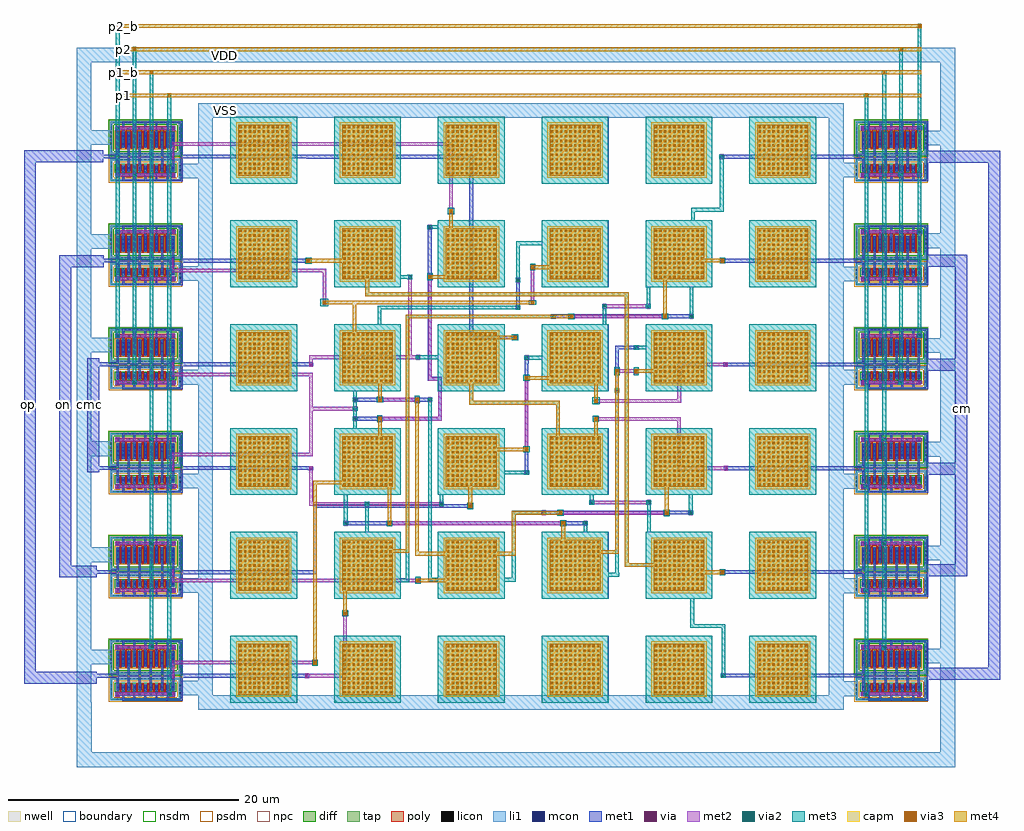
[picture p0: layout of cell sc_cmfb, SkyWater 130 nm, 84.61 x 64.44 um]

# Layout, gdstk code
from math import pi, radians
import gdstk
lib = gdstk.Library(unit=1e-6, precision=1e-09)
def R(c, l, rs):  # rectangles x0, y0, x1, y1
    for r in rs: c.add(gdstk.rectangle(r[:2], r[2:], *l))
def A(c, l, x, y, w, h, nx, ny, dx, dy):  # array of equal rectangles
    R(c, l, [(x+i*dx, y+j*dy, x+i*dx+w, y+j*dy+h) for i in range(nx) for j in range(ny)])
nwell = (64, 20)
diff = (65, 20)
tap = (65, 44)
poly = (66, 20)
licon = (66, 44)
li1 = (67, 20)
mcon = (67, 44)
met1 = (68, 20)
via = (68, 44)
met2 = (69, 20)
via2 = (69, 44)
met3 = (70, 20)
via3 = (70, 44)
met4 = (71, 20)
capm = (89, 44)
nsdm = (93, 44)
psdm = (94, 20)
npc = (95, 20)
boundary = (235, 4)

pmos_tgate = lib.new_cell('pmos_tgate')
R(pmos_tgate, nwell, [(-3.23,-1.78,3.24,1.47)])
R(pmos_tgate, diff, [(-2.54,-0.68,2.55,0.68)])
R(pmos_tgate, tap, [(-3.05,-1.6,3.06,-1.43), (-3.05,-1.43,-2.88,1.12), (2.89,-1.43,3.06,1.12), (-3.05,1.12,3.06,1.29)])
A(pmos_tgate, poly, -2.23, -0.84, 0.15, 1.65, 10, 1, 0.48, 0)
R(pmos_tgate, poly, [(-2.56,-1.17,2.57,-0.84)])
A(pmos_tgate, licon, -2.46, -1.6, 0.17, 0.17, 15, 2, 0.34, 2.72)
A(pmos_tgate, licon, -3.05, -1.09, 0.17, 0.17, 1, 6, 0, 0.34)
A(pmos_tgate, licon, -2.48, -1.09, 0.17, 0.17, 6, 1, 0.96, 0)
A(pmos_tgate, licon, 2.89, -1.09, 0.17, 0.17, 1, 6, 0, 0.34)
A(pmos_tgate, licon, -2.48, -0.595, 0.17, 0.17, 11, 4, 0.48, 0.34)
A(pmos_tgate, li1, -2.48, -0.7, 0.17, 1.4, 11, 1, 0.48, 0)
R(pmos_tgate, li1, [(-3.05,-1.6,3.06,-1.43), (-3.05,-1.43,-2.88,1.12), (2.89,-1.43,3.06,1.12), (-2.56,-1.13,2.57,-0.88), (-3.05,1.12,3.06,1.29)])
A(pmos_tgate, mcon, -2.48, -0.445, 0.17, 0.17, 11, 3, 0.48, 0.36)
A(pmos_tgate, met1, -2.51, -0.68, 0.23, 1.36, 11, 1, 0.48, 0)
R(pmos_tgate, nsdm, [(-3.175,-1.725,3.185,-1.305), (-3.175,-1.305,-2.755,0.995), (2.765,-1.305,3.185,0.995), (-3.175,0.995,3.185,1.415)])
R(pmos_tgate, psdm, [(-2.665,-0.805,2.675,0.805)])
A(pmos_tgate, npc, -2.58, -1.19, 0.37, 0.37, 6, 1, 0.96, 0)
R(pmos_tgate, boundary, [(-2.97,-1.51,2.97,1.51)])

nmos_tgate = lib.new_cell('nmos_tgate')
R(nmos_tgate, diff, [(-2.54,-0.26,2.55,0.26)])
R(nmos_tgate, tap, [(-3.05,-1.13,3.06,-0.96), (-3.05,-0.96,-2.88,0.65), (2.89,-0.96,3.06,0.65), (-3.05,0.65,3.06,0.82)])
A(nmos_tgate, poly, -2.23, -0.415, 0.15, 0.805, 10, 1, 0.48, 0)
R(nmos_tgate, poly, [(-2.56,-0.745,2.57,-0.415)])
A(nmos_tgate, licon, -2.46, -1.13, 0.17, 0.17, 15, 2, 0.34, 1.78)
A(nmos_tgate, licon, -2.48, -0.665, 0.17, 0.17, 6, 1, 0.96, 0)
A(nmos_tgate, licon, -3.05, -0.58, 0.17, 0.17, 1, 3, 0, 0.34)
A(nmos_tgate, licon, 2.89, -0.58, 0.17, 0.17, 1, 3, 0, 0.34)
A(nmos_tgate, licon, -2.48, -0.085, 0.17, 0.17, 11, 1, 0.48, 0)
A(nmos_tgate, li1, -2.48, -0.28, 0.17, 0.56, 11, 1, 0.48, 0)
R(nmos_tgate, li1, [(-3.05,-1.13,3.06,-0.96), (-3.05,-0.96,-2.88,0.65), (2.89,-0.96,3.06,0.65), (-2.56,-0.705,2.57,-0.455), (-3.05,0.65,3.06,0.82)])
A(nmos_tgate, mcon, -2.48, -0.085, 0.17, 0.17, 11, 1, 0.48, 0)
A(nmos_tgate, met1, -2.51, -0.26, 0.23, 0.52, 11, 1, 0.48, 0)
R(nmos_tgate, nsdm, [(-2.665,-0.385,2.675,0.385)])
R(nmos_tgate, psdm, [(-3.175,-1.255,3.185,-0.835), (-3.175,-0.835,-2.755,0.525), (2.765,-0.835,3.185,0.525), (-3.175,0.525,3.185,0.945)])
A(nmos_tgate, npc, -2.58, -0.765, 0.37, 0.37, 6, 1, 0.96, 0)
R(nmos_tgate, boundary, [(-2.97,-1.05,2.97,1.05)])

transmission_gate = lib.new_cell('transmission_gate')
R(transmission_gate, li1, [(5.855,-0.065,6.025,0.095), (0.405,0.36,0.485,0.61), (0.405,4.415,0.485,4.665), (5.855,4.965,6.025,5.135)])
A(transmission_gate, met1, 0.965, 0.095, 0.17, 0.805, 5, 2, 0.96, 4.065)
A(transmission_gate, met1, 0.485, 1.265, 0.17, 0.715, 6, 1, 0.96, 0)
A(transmission_gate, met1, 0.485, 2.15, 0.17, 0.89, 6, 1, 0.96, 0)
R(transmission_gate, met1, [(-0.265,-0.075,4.975,0.095), (-0.265,0.095,-0.095,4.965), (0.485,1.98,5.455,2.15), (-0.265,4.965,4.975,5.135)])
transmission_gate.add(gdstk.Reference(pmos_tgate, (2.975,3.535), rotation=pi))
transmission_gate.add(gdstk.Reference(nmos_tgate, (2.965,1.065)))
transmission_gate.add(gdstk.Label('in', (-0.17,2.05), layer=68, texttype=16))
transmission_gate.add(gdstk.Label('out', (5.37,2.06), layer=68, texttype=16))
transmission_gate.add(gdstk.Label('en', (0.44,0.49), layer=67, texttype=16))
transmission_gate.add(gdstk.Label('en_b', (0.44,4.55), layer=67, texttype=16))
transmission_gate.add(gdstk.Label('VDD', (5.94,5.05), layer=67, texttype=16))
transmission_gate.add(gdstk.Label('VSS', (5.94,0.01), layer=67, texttype=16))

unit_cap_mim_m3m4 = lib.new_cell('unit_cap_mim_m3m4')
R(unit_cap_mim_m3m4, met3, [(-3.15,-2.9,2.64,2.9)])
A(unit_cap_mim_m3m4, via3, -2.35, -2.1, 0.2, 0.2, 11, 11, 0.4, 0.4)
R(unit_cap_mim_m3m4, met4, [(-2.455,-2.205,1.955,2.205)])
R(unit_cap_mim_m3m4, capm, [(-2.65,-2.4,2.15,2.4)])
R(unit_cap_mim_m3m4, boundary, [(-3.15,-2.9,2.65,2.9)])

sc_cmfb = lib.new_cell('sc_cmfb')
R(sc_cmfb, li1, [(-22.295,-14.595,53.83,-13.315), (-22.295,-13.315,-21.015,-9.625), (52.55,-13.315,53.83,-5.6), (-22.31,-9.625,-21.015,-8.955), (-11.78,-9.625,44.175,-8.43), (-22.31,-8.955,-21.03,-5.68), (-11.78,-8.43,45.305,-8.38), (-13.37,-8.38,45.305,-8.345), (50.625,-8.36,50.795,-8.19), (45.83,-8.35,46,-8.18), (-13.37,-8.345,-10.5,-7.1), (42.895,-8.345,45.305,-7.15), (-18.84,-8.335,-18.67,-8.165), (-14.055,-8.335,-13.885,-8.165), (42.895,-7.15,44.175,0.495), (-11.78,-7.1,-10.5,0.52), (-22.31,-5.68,-19.28,-4.4), (51.31,-5.6,53.83,-4.32), (-22.31,-4.4,-21.03,3.185), (52.55,-4.32,53.83,3.325), (-18.845,-4.295,-18.675,-4.125), (45.81,-4.29,45.98,-4.12), (-14.045,-4.28,-13.875,-4.11), (50.615,-4.27,50.785,-4.1), (42.895,0.495,45.36,1.775), (-13.345,0.52,-10.5,1.8), (45.8,0.63,45.97,0.8), (-18.855,0.65,-18.685,0.82), (-14.045,0.65,-13.875,0.82), (50.595,0.655,50.765,0.825), (42.895,1.775,44.175,9.55), (-11.78,1.8,-10.5,9.565), (-22.31,3.185,-19.335,4.465), (51.295,3.325,53.83,4.605), (-22.31,4.465,-21.03,12.36), (52.55,4.605,53.83,12.32), (50.625,4.7,50.795,4.87), (-18.85,4.71,-18.68,4.88), (-14.045,4.715,-13.875,4.885), (45.8,4.73,45.97,4.9), (42.895,9.55,45.27,10.83), (-13.41,9.565,-10.5,10.845), (50.625,9.635,50.795,9.805), (-18.85,9.65,-18.68,9.82), (-14.035,9.65,-13.865,9.82), (45.79,9.655,45.96,9.825), (42.895,10.83,44.175,18.57), (-11.78,10.845,-10.5,18.57), (51.255,12.32,53.83,13.6), (-22.31,12.36,-19.295,13.64), (52.55,13.6,53.83,21.325), (-22.31,13.64,-21.03,21.365), (-18.835,13.715,-18.665,13.885), (-14.045,13.715,-13.875,13.885), (45.8,13.73,45.97,13.9), (50.605,13.73,50.775,13.9), (-13.41,18.57,-10.5,19.85), (42.895,18.57,45.335,19.85), (45.8,18.645,45.97,18.815), (-18.835,18.65,-18.665,18.82), (-14.04,18.655,-13.87,18.825), (50.645,18.665,50.815,18.835), (-11.78,19.85,-10.5,27.56), (42.895,19.85,44.175,27.51), (51.285,21.325,53.83,22.605), (-22.31,21.365,-19.335,22.645), (52.55,22.605,53.83,30.395), (-22.31,22.645,-21.03,30.34), (-18.85,22.71,-18.68,22.88), (-14.03,22.71,-13.86,22.88), (45.82,22.71,45.99,22.88), (50.625,22.71,50.795,22.88), (42.895,27.51,45.32,28.79), (-13.36,27.56,-10.5,28.84), (-18.835,27.65,-18.665,27.82), (-14.05,27.65,-13.88,27.82), (45.79,27.665,45.96,27.835), (50.615,27.675,50.785,27.845), (42.895,28.79,44.175,36.53), (-11.78,28.84,-10.5,36.45), (-22.31,30.34,-19.375,31.62), (51.255,30.395,53.83,31.675), (-22.31,31.62,-21.03,39.345), (52.55,31.675,53.83,39.31), (-14.04,31.71,-13.87,31.88), (50.615,31.71,50.785,31.88), (-18.84,31.715,-18.67,31.885), (45.79,31.73,45.96,31.9), (-13.395,36.45,-10.5,37.73), (42.895,36.53,45.335,37.81), (-18.84,36.65,-18.67,36.82), (-14.035,36.655,-13.865,36.825), (45.81,36.655,45.98,36.825), (50.625,36.665,50.795,36.835), (-11.78,37.73,-10.5,41.695), (42.895,37.81,44.175,41.695), (51.32,39.31,53.83,40.59), (-22.31,39.345,-19.32,40.625), (52.55,40.59,53.83,41.535), (-22.31,40.625,-21.03,46.505), (-18.84,40.71,-18.67,40.88), (-14.045,40.71,-13.875,40.88), (50.605,40.71,50.775,40.88), (45.765,40.72,45.935,40.89), (52.55,41.535,53.845,42.975), (-11.78,41.695,44.175,42.975), (52.565,42.975,53.845,46.505), (-22.31,46.505,53.845,47.785)])
R(sc_cmfb, mcon, [(50.625,-8.36,50.795,-8.19), (45.83,-8.35,46,-8.18), (-18.84,-8.335,-18.67,-8.165), (-14.055,-8.335,-13.885,-8.165), (-18.845,-4.295,-18.675,-4.125), (45.81,-4.29,45.98,-4.12), (-14.045,-4.28,-13.875,-4.11), (50.615,-4.27,50.785,-4.1), (45.8,0.63,45.97,0.8), (-18.855,0.65,-18.685,0.82), (-14.045,0.65,-13.875,0.82), (50.595,0.655,50.765,0.825), (50.625,4.7,50.795,4.87), (-18.85,4.71,-18.68,4.88), (-14.045,4.715,-13.875,4.885), (45.8,4.73,45.97,4.9), (50.625,9.635,50.795,9.805), (-18.85,9.65,-18.68,9.82), (-14.035,9.65,-13.865,9.82), (45.79,9.655,45.96,9.825), (-18.835,13.715,-18.665,13.885), (-14.045,13.715,-13.875,13.885), (45.8,13.73,45.97,13.9), (50.605,13.73,50.775,13.9), (45.8,18.645,45.97,18.815), (-18.835,18.65,-18.665,18.82), (-14.04,18.655,-13.87,18.825), (50.645,18.665,50.815,18.835), (-18.85,22.71,-18.68,22.88), (-14.03,22.71,-13.86,22.88), (45.82,22.71,45.99,22.88), (50.625,22.71,50.795,22.88), (-18.835,27.65,-18.665,27.82), (-14.05,27.65,-13.88,27.82), (45.79,27.665,45.96,27.835), (50.615,27.675,50.785,27.845), (-14.04,31.71,-13.87,31.88), (50.615,31.71,50.785,31.88), (-18.84,31.715,-18.67,31.885), (45.79,31.73,45.96,31.9), (-18.84,36.65,-18.67,36.82), (-14.035,36.655,-13.865,36.825), (45.81,36.655,45.98,36.825), (50.625,36.665,50.795,36.835), (-18.84,40.71,-18.67,40.88), (-14.045,40.71,-13.875,40.88), (50.605,40.71,50.775,40.88), (45.765,40.72,45.935,40.89)])
R(sc_cmfb, met1, [(-18.955,-8.43,-18.535,-8.11), (-14.17,-8.42,-13.75,-8.1), (50.5,-8.42,50.92,-8.1), (45.675,-8.415,46.095,-8.095), (-26.88,-7.37,-20.565,-6.825), (51.43,-7.02,57.73,-5.985), (-14.245,-6.84,-13.825,-6.52), (-13.19,-6.83,-2.2,-6.825), (-26.88,-6.825,-18.795,-6.505), (-13.19,-6.825,-2.14,-6.51), (33.835,-6.82,45.925,-6.815), (33.54,-6.815,45.925,-6.5), (-2.56,-6.51,-2.14,-6.505), (-26.88,-6.505,-20.565,-6.335), (33.54,-6.5,33.96,-6.495), (-26.88,-6.335,-25.845,37.83), (56.695,-5.985,57.73,37.805), (45.69,-4.365,46.11,-4.045), (50.49,-4.365,50.91,-4.045), (-18.97,-4.36,-18.55,-4.04), (-14.165,-4.355,-13.745,-4.035), (-18.97,0.57,-18.55,0.89), (45.68,0.575,46.1,0.895), (50.49,0.58,50.91,0.9), (-14.155,0.59,-13.735,0.91), (-23.82,1.85,-20.575,2.165), (51.415,1.975,54.9,3.01), (33.45,2.145,33.87,2.165), (-13.155,2.15,-1.495,2.47), (-23.82,2.165,-18.755,2.485), (-14.25,2.165,-13.83,2.485), (33.45,2.165,45.9,2.465), (33.61,2.465,45.9,2.485), (-1.82,2.47,-1.5,7.88), (-23.82,2.485,-20.575,2.885), (-23.82,2.885,-22.785,28.73), (53.865,3.01,54.9,10.74), (45.68,4.63,46.1,4.95), (50.505,4.635,50.925,4.955), (-18.97,4.64,-18.55,4.96), (-14.155,4.64,-13.735,4.96), (0.8,6.385,22,6.705), (17.96,7.31,31.13,7.63), (-1.82,7.88,12.02,8.2), (45.67,9.565,46.09,9.885), (50.495,9.575,50.915,9.895), (-18.97,9.585,-18.55,9.905), (-14.14,9.595,-13.72,9.915), (51.45,10.74,54.9,11.775), (16.49,10.795,16.91,11.115), (-21.395,10.965,-20.36,11.185), (16.54,11.115,16.855,20.425), (-2.22,11.135,-1.8,11.17), (-14.285,11.155,-13.865,11.475), (33.77,11.165,45.895,11.485), (-13.17,11.17,-1.8,11.455), (-21.395,11.185,-18.685,11.505), (-13.17,11.455,-1.935,11.49), (-21.395,11.505,-20.36,20.18), (53.865,11.775,54.9,19.76), (-18.98,13.625,-18.56,13.945), (-14.145,13.635,-13.725,13.955), (45.685,13.635,46.105,13.955), (50.485,13.635,50.905,13.955), (1.615,15.45,9.33,15.77), (9.01,15.77,9.33,18.91), (1.615,17.095,8.525,17.415), (24.32,17.89,24.74,18.21), (24.37,18.21,24.69,21.63), (-18.965,18.57,-18.545,18.89), (45.68,18.57,46.1,18.89), (-14.155,18.585,-13.735,18.905), (50.495,18.595,50.915,18.915), (8.14,18.91,9.33,19.23), (8.14,19.23,8.46,32.06), (51.435,19.76,54.9,20.795), (-2.22,20.15,-1.8,20.17), (-14.27,20.155,-13.85,20.475), (33.745,20.155,45.955,20.475), (-13.135,20.17,-1.8,20.47), (-21.395,20.18,-18.73,20.5), (16.54,20.425,16.86,20.74), (-13.135,20.47,-1.87,20.49), (-21.395,20.5,-20.36,20.84), (16.49,20.74,16.91,21.06), (53.865,20.795,54.9,28.79), (24.37,21.63,26.405,21.95), (11.735,22.495,15.9,22.815), (-18.975,22.635,-18.555,22.955), (-14.17,22.635,-13.75,22.955), (50.49,22.645,50.91,22.965), (45.685,22.65,46.105,22.97), (11.735,22.815,12.055,38.165), (18.79,24.32,19.21,24.34), (18.79,24.34,31.2,24.64), (19.155,24.64,31.2,24.66), (15.735,25.1,16.155,25.42), (15.785,25.42,16.105,27.47), (15.735,27.47,16.155,27.79), (50.48,27.575,50.9,27.895), (45.685,27.58,46.105,27.9), (-18.955,27.585,-18.535,27.905), (-14.165,27.585,-13.745,27.905), (-23.82,28.73,-19.98,29.175), (51.47,28.79,54.9,29.825), (-2.435,29.145,-2.015,29.15), (33.64,29.145,45.905,29.155), (-13.185,29.15,-2.015,29.465), (-14.29,29.155,-13.87,29.475), (33.47,29.155,45.905,29.465), (-23.82,29.175,-18.74,29.495), (-13.185,29.465,-2.155,29.47), (33.47,29.465,34.11,29.475), (33.64,29.475,34.11,29.48), (-23.82,29.495,-19.98,29.765), (-18.97,31.64,-18.55,31.96), (50.49,31.65,50.91,31.97), (-14.16,31.655,-13.74,31.975), (45.69,31.66,46.11,31.98), (8.09,32.06,8.51,32.38), (45.67,36.56,46.09,36.88), (-14.17,36.57,-13.75,36.89), (50.505,36.575,50.925,36.895), (-18.945,36.59,-18.525,36.91), (51.45,37.805,57.73,38.84), (-26.88,37.83,-20.02,38.185), (-14.26,38.155,-13.84,38.475), (-2.425,38.165,12.055,38.185), (33.405,38.165,45.85,38.485), (-26.88,38.185,-18.74,38.505), (-13.175,38.185,12.055,38.485), (-13.175,38.485,-1.675,38.505), (-26.88,38.505,-20.02,38.865), (-18.975,40.62,-18.555,40.94), (-14.175,40.62,-13.755,40.94), (45.675,40.64,46.095,40.96), (50.495,40.655,50.915,40.975)])
R(sc_cmfb, via, [(-18.82,-8.345,-18.67,-8.195), (-14.035,-8.335,-13.885,-8.185), (50.635,-8.335,50.785,-8.185), (45.81,-8.33,45.96,-8.18), (-14.11,-6.755,-13.96,-6.605), (-2.425,-6.74,-2.275,-6.59), (33.675,-6.73,33.825,-6.58), (45.825,-4.28,45.975,-4.13), (50.625,-4.28,50.775,-4.13), (-18.835,-4.275,-18.685,-4.125), (-14.03,-4.27,-13.88,-4.12), (-18.835,0.655,-18.685,0.805), (45.815,0.66,45.965,0.81), (50.625,0.665,50.775,0.815), (-14.02,0.675,-13.87,0.825), (33.585,2.23,33.735,2.38), (-14.115,2.25,-13.965,2.4), (45.815,4.715,45.965,4.865), (50.64,4.72,50.79,4.87), (-18.835,4.725,-18.685,4.875), (-14.02,4.725,-13.87,4.875), (0.935,6.47,1.085,6.62), (21.715,6.47,21.865,6.62), (18.095,7.395,18.245,7.545), (30.845,7.395,30.995,7.545), (11.735,7.965,11.885,8.115), (45.805,9.65,45.955,9.8), (50.63,9.66,50.78,9.81), (-18.835,9.67,-18.685,9.82), (-14.005,9.68,-13.855,9.83), (16.625,10.88,16.775,11.03), (-2.085,11.22,-1.935,11.37), (-14.15,11.24,-14,11.39), (33.905,11.25,34.055,11.4), (-18.845,13.71,-18.695,13.86), (-14.01,13.72,-13.86,13.87), (45.82,13.72,45.97,13.87), (50.62,13.72,50.77,13.87), (1.75,15.535,1.9,15.685), (1.75,17.18,1.9,17.33), (8.24,17.18,8.39,17.33), (24.455,17.975,24.605,18.125), (-18.83,18.655,-18.68,18.805), (45.815,18.655,45.965,18.805), (-14.02,18.67,-13.87,18.82), (50.63,18.68,50.78,18.83), (-2.085,20.235,-1.935,20.385), (-14.135,20.24,-13.985,20.39), (33.88,20.24,34.03,20.39), (16.625,20.825,16.775,20.975), (26.12,21.715,26.27,21.865), (15.615,22.58,15.765,22.73), (-18.84,22.72,-18.69,22.87), (-14.035,22.72,-13.885,22.87), (50.625,22.73,50.775,22.88), (45.82,22.735,45.97,22.885), (18.925,24.405,19.075,24.555), (30.915,24.425,31.065,24.575), (15.87,25.185,16.02,25.335), (15.87,27.555,16.02,27.705), (50.615,27.66,50.765,27.81), (45.82,27.665,45.97,27.815), (-18.82,27.67,-18.67,27.82), (-14.03,27.67,-13.88,27.82), (-2.3,29.23,-2.15,29.38), (-14.155,29.24,-14.005,29.39), (33.605,29.24,33.755,29.39), (-18.835,31.725,-18.685,31.875), (50.625,31.735,50.775,31.885), (-14.025,31.74,-13.875,31.89), (45.825,31.745,45.975,31.895), (8.225,32.145,8.375,32.295), (45.805,36.645,45.955,36.795), (-14.035,36.655,-13.885,36.805), (50.64,36.66,50.79,36.81), (-18.81,36.675,-18.66,36.825), (-14.125,38.24,-13.975,38.39), (33.54,38.25,33.69,38.4), (-18.84,40.705,-18.69,40.855), (-14.04,40.705,-13.89,40.855), (45.81,40.725,45.96,40.875), (50.63,40.74,50.78,40.89)])
A(sc_cmfb, met2, 45.72, 4.67, 5.285, 0.26, 1, 3, 0, 9)
R(sc_cmfb, met2, [(-18.905,-8.48,-18.585,-8.37), (45.985,-8.48,46.305,-8.465), (-14.425,-8.47,-13.8,-8.37), (50.55,-8.47,50.87,-8.365), (45.725,-8.465,46.305,-8.365), (-18.97,-8.37,-13.795,-8.11), (45.725,-8.365,51.005,-8.105), (-18.905,-8.11,-18.585,-8.06), (-14.425,-8.11,-13.8,-8.05), (45.725,-8.105,46.305,-8.06), (50.55,-8.105,50.87,-8.05), (45.725,-8.06,46.045,-8.045), (-14.195,-6.89,-13.875,-5.69), (-2.51,-6.875,-2.19,-6.825), (33.59,-6.865,33.91,-6.445), (-2.51,-6.825,1.12,-6.505), (-2.51,-6.505,-2.19,-6.455), (0.8,-6.505,1.12,-1.04), (-1.82,-5.74,-1.5,-5.69), (-14.195,-5.69,-1.5,-5.37), (-1.82,-5.37,-1.5,-5.32), (47.515,-4.425,47.835,-4.33), (45.74,-4.415,46.06,-4.33), (50.54,-4.415,50.86,-4.33), (-18.92,-4.41,-18.6,-4.33), (-14.115,-4.405,-13.795,-4.33), (-16,-4.375,-15.68,-4.33), (-18.97,-4.33,-13.765,-4.07), (45.725,-4.33,51.005,-4.07), (-18.92,-4.07,-18.6,-3.99), (-16,-4.07,-15.68,-3.955), (-14.115,-4.07,-13.795,-3.985), (45.74,-4.07,46.06,-3.995), (47.515,-4.07,47.835,-4.005), (50.54,-4.07,50.86,-3.995), (45.99,0.505,46.31,0.525), (-18.92,0.52,-18.6,0.63), (45.73,0.525,46.31,0.635), (-14.38,0.53,-13.755,0.57), (50.54,0.53,50.86,0.635), (-14.395,0.57,-13.755,0.63), (-18.97,0.63,-13.755,0.89), (45.73,0.635,51.005,0.895), (-18.92,0.89,-18.6,0.94), (-14.395,0.89,-13.755,0.95), (45.73,0.895,46.31,0.925), (50.54,0.895,50.86,0.95), (45.73,0.925,46.05,0.945), (-14.38,0.95,-13.755,0.965), (7.115,1.375,7.435,1.42), (-14.2,1.42,7.435,1.74), (-14.2,1.74,-13.88,2.535), (7.115,1.74,7.435,1.795), (33.5,2.095,33.82,2.515), (45.73,4.58,46.05,4.67), (50.555,4.585,50.875,4.67), (-18.92,4.59,-18.6,4.67), (-14.105,4.59,-13.785,4.67), (47.515,4.595,47.835,4.67), (-15.965,4.61,-15.685,4.67), (-18.97,4.67,-13.775,4.93), (-18.92,4.93,-18.6,5.01), (-15.965,4.93,-15.685,4.99), (-14.105,4.93,-13.785,5.01), (45.73,4.93,46.05,5), (47.515,4.93,47.835,5.015), (50.555,4.93,50.875,5.005), (0.85,6.335,1.17,6.755), (4.65,6.335,4.97,6.385), (19.715,6.335,20.035,6.385), (21.63,6.335,21.95,6.755), (4.65,6.385,20.035,6.705), (4.65,6.705,4.97,6.755), (19.715,6.705,20.035,6.755), (19.47,7.24,19.79,7.29), (28.68,7.24,29,7.29), (18.01,7.26,18.33,7.68), (30.76,7.26,31.08,7.68), (19.47,7.29,29,7.61), (19.47,7.61,19.79,7.66), (28.68,7.61,29,7.66), (11.65,7.83,11.97,8.25), (2.7,8,3.02,8.05), (9.15,8,9.47,8.05), (-2.17,8.05,9.47,8.37), (22.185,8.15,22.505,8.2), (27.13,8.15,27.45,8.2), (22.185,8.2,27.45,8.52), (-2.17,8.37,-1.85,11.505), (2.7,8.37,3.02,8.42), (9.15,8.37,9.47,8.42), (22.185,8.52,22.505,8.57), (27.13,8.52,27.45,8.57), (45.72,9.515,46.04,9.54), (50.545,9.525,50.865,9.635), (-18.92,9.535,-18.6,9.63), (45.72,9.54,46.285,9.635), (-14.455,9.545,-13.77,9.63), (-18.97,9.63,-13.625,9.89), (45.665,9.635,51.005,9.895), (-18.92,9.89,-18.6,9.955), (-14.455,9.89,-13.77,9.965), (45.72,9.895,46.285,9.935), (50.545,9.895,50.865,9.945), (45.965,9.935,46.285,9.96), (16.54,10.745,16.86,11.165), (-14.235,11.105,-13.915,12.36), (33.82,11.115,34.14,11.165), (29.735,11.165,34.14,11.485), (29.735,11.485,30.055,15.435), (33.82,11.485,34.14,11.535), (-14.235,12.36,-1.85,12.68), (-2.17,12.68,-1.85,16.315), (16.53,12.745,16.85,19.36), (-18.93,13.575,-18.61,13.67), (-14.095,13.585,-13.775,13.67), (45.735,13.585,46.055,13.67), (50.535,13.585,50.855,13.67), (47.52,13.59,47.84,13.67), (-15.96,13.605,-15.68,13.67), (-18.97,13.67,-13.715,13.93), (-18.93,13.93,-18.61,13.995), (-15.96,13.93,-15.68,13.985), (-14.095,13.93,-13.775,14.005), (45.735,13.93,46.055,14.005), (47.52,13.93,47.84,14.01), (50.535,13.93,50.855,14.005), (22.54,15.385,22.86,15.435), (3.82,15.395,4.14,15.445), (1.665,15.4,1.985,15.82), (22.54,15.435,30.055,15.755), (3.82,15.445,9.33,15.765), (22.54,15.755,22.86,15.805), (3.82,15.765,4.14,15.815), (9.01,15.765,9.33,18.895), (1.665,16.265,1.985,16.315), (-2.17,16.315,2.01,16.535), (-2.165,16.535,2.01,16.635), (-2.165,16.635,-1.845,19.295), (1.665,16.635,1.985,16.685), (22.55,16.94,22.87,16.99), (22.55,16.99,30.08,17.31), (1.665,17.045,1.985,17.465), (3.825,17.045,4.145,17.095), (7.04,17.045,7.36,17.095), (8.155,17.045,8.475,17.465), (3.825,17.095,7.36,17.415), (22.55,17.31,22.87,17.36), (29.76,17.31,30.08,20.155), (3.825,17.415,4.145,17.465), (7.04,17.415,7.36,17.465), (24.37,17.84,24.69,18.26), (-18.915,18.52,-18.595,18.63), (45.73,18.52,46.05,18.635), (-14.105,18.535,-13.785,18.63), (48.965,18.545,49.285,18.635), (50.545,18.545,50.865,18.635), (-17.435,18.565,-17.155,18.63), (-18.97,18.63,-13.76,18.89), (45.73,18.635,51.005,18.895), (-18.915,18.89,-18.595,18.94), (-17.435,18.89,-17.155,18.945), (-14.105,18.89,-13.785,18.955), (8.15,18.895,9.33,19.215), (45.73,18.895,46.05,18.94), (48.965,18.895,49.285,18.965), (50.545,18.895,50.865,18.965), (8.15,19.215,8.47,28.115), (-14.22,19.295,-1.845,19.615), (24.38,19.53,24.7,19.58), (26.03,19.53,26.35,19.58), (24.38,19.58,26.35,19.9), (-14.22,19.615,-13.9,20.525), (24.38,19.9,24.7,19.95), (26.03,19.9,26.35,19.95), (-2.17,20.1,-1.85,20.775), (33.795,20.105,34.115,20.155), (29.76,20.155,34.115,20.475), (33.795,20.475,34.115,20.525), (16.54,20.69,16.86,21.11), (7.14,20.725,7.46,20.775), (-2.17,20.775,7.46,21.095), (6.41,21.095,6.73,28.11), (7.14,21.095,7.46,21.145), (26.035,21.58,26.355,22), (15.53,22.445,15.85,22.865), (-18.925,22.585,-18.605,22.67), (-14.12,22.585,-13.8,22.67), (50.54,22.595,50.86,22.615), (45.735,22.6,46.055,22.67), (50.54,22.615,50.92,22.67), (-18.97,22.67,-13.78,22.93), (-18.925,22.93,-18.605,23.005), (-14.12,22.93,-13.8,23.005), (45.735,22.93,46.055,23.02), (50.54,22.93,50.92,23.015), (50.6,23.015,50.92,23.035), (18.84,24.27,19.16,24.69), (20.42,24.27,20.74,24.32), (28.53,24.27,28.85,24.32), (30.83,24.29,31.15,24.71), (20.42,24.32,28.85,24.64), (20.42,24.64,20.74,24.69), (28.53,24.64,28.85,24.69), (15.785,25.05,16.105,25.47), (23.29,25.16,23.61,25.21), (27.09,25.16,27.41,25.21), (23.29,25.21,27.41,25.53), (17.05,25.475,17.37,28.955), (-0.985,25.48,-0.665,28.31), (23.29,25.53,23.61,25.58), (27.09,25.53,27.41,25.58), (15.785,27.42,16.105,27.84), (50.53,27.525,50.85,27.635), (45.735,27.53,46.055,27.635), (-18.905,27.535,-18.585,27.63), (-14.115,27.535,-13.795,27.63), (48.96,27.54,49.28,27.635), (-17.41,27.56,-17.13,27.63), (-18.97,27.63,-13.735,27.89), (45.65,27.635,51.005,27.895), (-18.905,27.89,-18.585,27.955), (-17.41,27.89,-17.13,27.94), (-14.115,27.89,-13.795,27.955), (45.735,27.895,46.055,27.95), (48.96,27.895,49.28,27.96), (50.53,27.895,50.85,27.945), (-14.24,28.31,-0.665,28.63), (-14.24,28.63,-13.92,29.525), (-2.385,29.095,-2.065,29.515), (33.52,29.105,33.84,29.525), (-18.92,31.59,-18.6,31.67), (50.6,31.59,50.92,31.6), (50.54,31.6,50.92,31.67), (-14.11,31.605,-13.79,31.67), (45.74,31.61,46.06,31.67), (-18.97,31.67,-13.78,31.93), (45.665,31.67,51.005,31.93), (-18.92,31.93,-18.6,32.01), (-14.11,31.93,-13.79,32.025), (45.74,31.93,46.06,32.03), (50.54,31.93,50.92,32.01), (8.14,32.01,8.46,32.43), (50.54,32.01,50.86,32.02), (9.98,33.41,10.3,39.275), (45.72,36.51,46.04,36.635), (-14.12,36.52,-13.8,36.63), (50.555,36.525,50.875,36.635), (-18.895,36.54,-18.575,36.63), (-17.42,36.555,-17.14,36.63), (48.98,36.565,49.3,36.635), (-18.97,36.63,-13.8,36.89), (45.72,36.635,51.005,36.895), (-18.895,36.89,-18.575,36.96), (-17.42,36.89,-17.14,36.935), (-14.12,36.89,-13.8,36.94), (45.72,36.895,46.04,36.93), (48.98,36.895,49.3,36.985), (50.555,36.895,50.875,36.945), (-14.21,38.105,-13.89,39.275), (33.455,38.115,33.775,38.535), (-14.21,39.275,10.3,39.595), (-18.925,40.57,-18.605,40.655), (-14.125,40.57,-13.805,40.67), (45.725,40.59,46.045,40.67), (50.545,40.605,50.865,40.61), (50.545,40.61,50.925,40.67), (-18.935,40.655,-18.565,40.67), (-18.97,40.67,-13.79,40.93), (45.725,40.67,51.005,40.93), (-18.935,40.93,-18.565,40.935), (-14.125,40.93,-13.805,40.99), (45.725,40.93,46.045,41.01), (50.545,40.93,50.925,41.025), (-18.925,40.935,-18.605,40.99), (50.605,41.025,50.925,41.03)])
R(sc_cmfb, via2, [(46.045,-8.37,46.245,-8.17), (-14.365,-8.36,-14.165,-8.16), (33.65,-6.755,33.85,-6.555), (-1.76,-5.63,-1.56,-5.43), (47.575,-4.315,47.775,-4.115), (-15.94,-4.265,-15.74,-4.065), (0.86,-1.35,1.06,-1.15), (46.05,0.615,46.25,0.815), (-14.355,0.66,-14.155,0.86), (7.175,1.485,7.375,1.685), (33.56,2.205,33.76,2.405), (-15.925,4.7,-15.725,4.9), (47.575,4.705,47.775,4.905), (0.91,6.445,1.11,6.645), (4.71,6.445,4.91,6.645), (19.775,6.445,19.975,6.645), (21.69,6.445,21.89,6.645), (19.53,7.35,19.73,7.55), (28.74,7.35,28.94,7.55), (18.07,7.37,18.27,7.57), (30.82,7.37,31.02,7.57), (11.71,7.94,11.91,8.14), (2.76,8.11,2.96,8.31), (9.21,8.11,9.41,8.31), (22.245,8.26,22.445,8.46), (27.19,8.26,27.39,8.46), (46.025,9.65,46.225,9.85), (-14.38,9.655,-14.18,9.855), (16.6,10.855,16.8,11.055), (16.59,12.855,16.79,13.055), (-15.92,13.695,-15.72,13.895), (47.58,13.7,47.78,13.9), (22.6,15.495,22.8,15.695), (3.88,15.505,4.08,15.705), (1.725,15.51,1.925,15.71), (1.725,16.375,1.925,16.575), (22.61,17.05,22.81,17.25), (1.725,17.155,1.925,17.355), (3.885,17.155,4.085,17.355), (7.1,17.155,7.3,17.355), (8.215,17.155,8.415,17.355), (24.43,17.95,24.63,18.15), (-17.395,18.655,-17.195,18.855), (49.025,18.655,49.225,18.855), (16.59,19.05,16.79,19.25), (24.44,19.64,24.64,19.84), (26.09,19.64,26.29,19.84), (16.6,20.8,16.8,21), (7.2,20.835,7.4,21.035), (26.095,21.69,26.295,21.89), (15.59,22.555,15.79,22.755), (-18.86,22.695,-18.66,22.895), (50.66,22.725,50.86,22.925), (18.9,24.38,19.1,24.58), (20.48,24.38,20.68,24.58), (28.59,24.38,28.79,24.58), (30.89,24.4,31.09,24.6), (15.845,25.16,16.045,25.36), (23.35,25.27,23.55,25.47), (27.15,25.27,27.35,25.47), (17.11,25.585,17.31,25.785), (-0.925,25.59,-0.725,25.79), (15.845,27.53,16.045,27.73), (-17.37,27.65,-17.17,27.85), (49.02,27.65,49.22,27.85), (6.47,27.8,6.67,28), (8.21,27.805,8.41,28.005), (17.11,28.645,17.31,28.845), (-2.325,29.205,-2.125,29.405), (33.58,29.215,33.78,29.415), (-18.86,31.69,-18.66,31.89), (50.66,31.7,50.86,31.9), (8.2,32.12,8.4,32.32), (10.04,33.52,10.24,33.72), (-17.38,36.645,-17.18,36.845), (49.04,36.675,49.24,36.875), (33.515,38.225,33.715,38.425), (-18.85,40.695,-18.65,40.895), (50.665,40.72,50.865,40.92)])
R(sc_cmfb, met3, [(45.995,-8.46,46.315,-8.455), (45.935,-8.455,46.355,-8.085), (-14.475,-8.445,-14.055,-8.075), (45.995,-8.085,46.315,0.53), (-14.445,-8.075,-14.125,0.595), (33.59,-6.86,33.91,-6.84), (33.54,-6.84,33.96,-6.47), (33.59,-6.47,33.91,-2.53), (-1.89,-5.795,-1.4,-5.28), (47.53,-4.445,47.85,-4.4), (47.465,-4.4,47.885,-4.03), (-15.995,-4.385,-15.675,-4.35), (-16.05,-4.35,-15.63,-3.98), (47.53,-4.03,47.85,4.62), (-15.995,-3.98,-15.675,4.635), (30.895,-2.53,33.91,-2.21), (30.895,-2.21,31.215,0.58), (0.695,-1.495,1.225,-0.975), (45.94,0.53,46.36,0.9), (-14.445,0.595,-14.065,0.925), (45.995,0.9,46.315,9.565), (-14.445,0.925,-14.125,9.59), (7.025,1.3,7.515,1.9), (4.995,1.45,6.525,1.77), (14.06,1.495,15.735,1.815), (8.155,1.505,9.485,1.825), (6.205,1.77,6.525,24.32), (15.415,1.815,15.735,7.31), (8.155,1.825,8.475,17.07), (23.05,1.92,24.705,2.24), (33.415,2.055,33.925,2.57), (24.37,2.24,24.69,17.865), (25.205,2.76,27.83,3.08), (25.205,3.08,25.525,26.235), (47.465,4.62,47.885,4.99), (-16.015,4.635,-15.635,4.965), (-15.995,4.965,-15.675,13.63), (47.53,4.99,47.85,13.615), (21.63,5.3,21.95,6.36), (27.13,5.395,27.45,8.175), (2.7,5.56,3.02,8.025), (4.55,6.295,5.055,6.785), (19.615,6.31,20.12,6.8), (0.8,6.36,1.22,6.73), (21.58,6.36,22,6.73), (0.85,6.73,1.17,9.73), (28.575,7.175,29.1,7.72), (19.365,7.185,19.89,7.73), (17.96,7.285,18.38,7.31), (30.71,7.285,31.13,7.655), (15.415,7.31,18.38,7.63), (17.96,7.63,18.38,7.655), (30.76,7.655,31.08,9.515), (11.535,7.765,12.075,8.33), (2.65,8.025,3.07,8.395), (9.1,8.025,9.52,8.395), (22.135,8.175,22.555,8.545), (27.08,8.175,27.5,8.545), (9.15,8.395,9.47,9.34), (22.185,8.545,22.505,9.465), (45.915,9.565,46.335,9.935), (-14.47,9.59,-14.09,9.92), (-14.445,9.92,-14.125,43.84), (45.995,9.935,46.315,43.485), (16.49,10.77,16.91,10.795), (14.435,10.795,16.91,11.115), (16.49,11.115,16.91,11.14), (16.42,12.69,16.95,13.225), (47.47,13.615,47.89,13.985), (-16.01,13.63,-15.63,13.96), (-15.995,13.96,-15.675,45.83), (47.53,13.985,47.85,45.485), (1.665,14.06,1.985,15.425), (19.24,14.095,19.56,16.84), (3.725,15.305,4.185,15.42), (22.43,15.355,22.95,15.855), (3.725,15.42,4.19,15.79), (1.615,15.425,2.035,15.795), (3.725,15.79,4.185,15.915), (1.665,15.795,1.985,16.29), (1.615,16.29,2.035,16.66), (1.665,16.66,1.985,17.07), (11.74,16.84,19.56,17.16), (22.395,16.855,23.02,17.46), (6.985,16.94,7.42,17.585), (3.715,17.02,4.245,17.505), (1.615,17.07,2.035,17.44), (8.105,17.07,8.525,17.44), (11.74,17.16,12.06,18.7), (1.665,17.44,1.985,18.805), (24.32,17.865,24.74,18.235), (48.915,18.57,49.335,18.94), (-17.45,18.575,-17.13,18.59), (-17.485,18.59,-17.105,18.92), (16.415,18.89,16.945,19.425), (-17.45,18.92,-17.13,27.585), (48.98,18.94,49.3,27.565), (25.965,19.39,26.42,20.09), (24.31,19.395,24.765,20.095), (16.49,20.715,16.91,20.74), (16.49,20.74,18.49,21.06), (7.09,20.75,7.51,20.775), (7.09,20.775,9.21,21.095), (16.49,21.06,16.91,21.085), (7.09,21.095,7.51,21.12), (25.985,21.605,26.405,21.63), (25.985,21.63,27.475,21.95), (25.985,21.95,26.405,21.975), (15.405,22.395,15.95,22.93), (-18.91,22.62,-18.59,22.63), (-18.95,22.63,-18.57,22.96), (50.6,22.63,50.92,22.64), (50.55,22.64,50.97,23.01), (-18.91,22.96,-18.59,31.625), (50.6,23.01,50.92,31.615), (3.77,23.315,4.09,25.1), (23.29,23.56,23.61,25.185), (28.415,24.245,28.965,24.715), (20.305,24.25,20.855,24.72), (18.79,24.295,19.21,24.32), (30.78,24.315,31.2,24.685), (6.205,24.32,19.21,24.64), (18.79,24.64,19.21,24.665), (30.83,24.685,31.15,27.455), (15.735,25.075,16.155,25.1), (3.77,25.1,16.155,25.42), (23.24,25.185,23.66,25.555), (27.04,25.185,27.46,25.555), (-1.19,25.36,-0.49,26.005), (15.735,25.42,16.155,25.445), (16.895,25.485,17.54,25.885), (27.09,25.555,27.41,27.3), (2.72,26.235,25.525,26.555), (2.72,26.555,3.04,27.755), (15.735,27.445,16.155,27.815), (48.91,27.565,49.33,27.935), (-17.46,27.585,-17.08,27.915), (8.08,27.62,8.54,28.23), (6.36,27.715,6.78,27.74), (5.55,27.74,6.78,28.06), (15.785,27.815,16.105,30.665), (-17.45,27.915,-17.13,36.58), (48.98,27.935,49.3,36.59), (6.36,28.06,6.78,28.085), (17,28.465,17.42,29.05), (-2.485,29.04,-1.955,29.575), (33.43,29.07,33.92,29.57), (15.785,30.665,18.49,30.985), (50.55,31.615,50.97,31.985), (-18.95,31.625,-18.57,31.955), (-18.91,31.955,-18.59,40.63), (50.6,31.985,50.92,40.635), (8.09,32.035,8.51,32.06), (8.09,32.06,9.48,32.38), (8.09,32.38,8.51,32.405), (30.955,32.575,31.275,33.575), (9.875,33.345,10.4,33.9), (30.955,33.575,33.775,33.895), (33.455,33.895,33.775,38.14), (-17.47,36.58,-17.09,36.91), (48.93,36.59,49.35,36.96), (-17.45,36.91,-17.13,47.845), (48.98,36.96,49.3,47.485), (33.405,38.14,33.825,38.51), (-18.915,40.63,-18.585,40.96), (50.555,40.635,50.975,41.005), (-18.91,40.96,-18.59,49.835), (50.6,41.005,50.92,49.845), (45.94,43.485,46.36,43.805), (47.48,45.485,47.9,45.805), (48.93,47.485,49.35,47.805)])
R(sc_cmfb, via3, [(-1.76,-5.63,-1.56,-5.43), (0.86,-1.35,1.06,-1.15), (7.175,1.485,7.375,1.685), (33.56,2.205,33.76,2.405), (4.71,6.445,4.91,6.645), (19.775,6.445,19.975,6.645), (19.53,7.35,19.73,7.55), (28.74,7.35,28.94,7.55), (11.71,7.94,11.91,8.14), (16.59,12.855,16.79,13.055), (22.6,15.495,22.8,15.695), (3.88,15.505,4.08,15.705), (22.61,17.05,22.81,17.25), (3.885,17.155,4.085,17.355), (7.1,17.155,7.3,17.355), (16.59,19.05,16.79,19.25), (24.44,19.64,24.64,19.84), (26.09,19.64,26.29,19.84), (15.59,22.555,15.79,22.755), (20.48,24.38,20.68,24.58), (28.59,24.38,28.79,24.58), (17.11,25.585,17.31,25.785), (-0.925,25.59,-0.725,25.79), (8.21,27.805,8.41,28.005), (17.11,28.645,17.31,28.845), (-2.325,29.205,-2.125,29.405), (33.58,29.215,33.78,29.415), (10.04,33.52,10.24,33.72), (46.05,43.545,46.25,43.745), (-14.385,43.55,-14.185,43.75), (-15.935,45.54,-15.735,45.74), (47.59,45.545,47.79,45.745), (49.04,47.545,49.24,47.745), (-17.39,47.555,-17.19,47.755), (-18.85,49.545,-18.65,49.745), (50.66,49.545,50.86,49.745)])
A(sc_cmfb, met4, -18.995, 43.485, 69.915, 0.32, 1, 3, 0, 2)
R(sc_cmfb, met4, [(-1.825,-5.695,-1.495,-5.365), (-1.82,-5.365,-1.5,9.925), (0.795,-1.415,1.125,-1.085), (0.8,-1.085,1.12,0.895), (7.11,1.42,7.44,1.425), (7.1,1.425,9.765,1.745), (7.11,1.745,7.44,1.75), (33.495,2.14,33.825,2.145), (31.92,2.145,33.83,2.465), (33.495,2.465,33.825,2.47), (25.205,2.76,27.83,3.08), (25.205,3.08,25.525,26.235), (14.06,3.74,15.735,4.06), (7.04,3.745,9.77,4.065), (23.045,3.9,24.7,4.22), (4.99,3.975,6.53,4.295), (15.415,4.06,15.735,7.29), (7.04,4.065,7.36,17.09), (24.38,4.22,24.7,19.575), (6.21,4.295,6.53,24.32), (19.715,5.035,20.035,6.38), (4.645,6.38,4.975,6.71), (19.71,6.38,20.04,6.71), (4.65,6.71,4.97,9.73), (19.715,6.71,20.035,6.725), (19.465,7.285,19.795,7.29), (28.675,7.285,29.005,7.615), (15.415,7.29,19.795,7.61), (19.465,7.61,19.795,7.615), (28.68,7.615,29,9.765), (11.645,7.875,11.975,8.205), (11.65,8.205,11.97,9.805), (-1.82,9.925,1.065,10.245), (16.525,12.79,16.855,12.795), (14.08,12.795,16.855,13.115), (16.525,13.115,16.855,13.12), (22.54,13.94,22.86,15.43), (3.82,14.055,4.14,15.44), (19.24,14.1,19.56,16.84), (22.535,15.43,22.865,15.76), (3.815,15.44,4.145,15.77), (11.74,16.84,19.56,17.16), (22.545,16.985,22.875,17.315), (3.82,17.09,4.15,17.42), (7.035,17.09,7.365,17.42), (11.74,17.16,12.06,18.7), (22.55,17.315,22.87,18.95), (3.825,17.42,4.145,18.805), (16.525,18.985,16.855,18.99), (16.525,18.99,18.73,19.31), (16.525,19.31,16.855,19.315), (24.375,19.575,24.705,19.905), (26.025,19.575,26.355,19.58), (26.025,19.58,27.73,19.9), (26.025,19.9,26.355,19.905), (15.525,22.49,15.855,22.495), (14.04,22.495,15.855,22.815), (15.525,22.815,15.855,22.82), (1.6,23.06,1.92,25.525), (20.415,24.315,20.745,24.32), (28.525,24.315,28.855,24.645), (6.21,24.32,20.75,24.64), (20.415,24.64,20.745,24.645), (28.53,24.645,28.85,27.76), (17.045,25.52,17.375,25.525), (-0.99,25.525,17.375,25.845), (-0.99,25.845,-0.66,25.855), (17.045,25.845,17.375,25.85), (2.72,26.235,25.525,26.555), (2.72,26.555,3.04,27.755), (8.145,27.74,8.475,27.745), (8.145,27.745,9.745,28.065), (8.145,28.065,8.475,28.07), (17.045,28.58,17.375,28.585), (17.045,28.585,18.72,28.905), (17.045,28.905,17.375,28.91), (-2.39,29.14,-2.06,29.145), (-2.39,29.145,0.775,29.465), (33.515,29.15,33.845,29.155), (31.61,29.155,33.845,29.475), (-2.39,29.465,-2.06,29.47), (33.515,29.475,33.845,29.48), (9.98,31.885,10.3,33.455), (9.975,33.455,10.305,33.785), (45.985,43.48,46.315,43.485), (-14.45,43.805,-14.12,43.815), (45.985,43.805,46.315,43.81), (-16,45.475,-15.67,45.485), (47.525,45.48,47.855,45.485), (47.525,45.805,47.855,45.81), (48.975,47.48,49.305,47.485), (-17.455,47.805,-17.125,47.82), (48.975,47.805,49.305,47.81), (-18.915,49.48,-18.585,49.485), (50.595,49.48,50.925,49.485), (-18.995,49.485,50.925,49.805), (-18.915,49.805,-18.585,49.81), (50.595,49.805,50.925,49.81)])
sc_cmfb.add(gdstk.Reference(transmission_gate, (-13.385,-8.745), rotation=pi, x_reflection=True))
sc_cmfb.add(gdstk.Reference(unit_cap_mim_m3m4, (-5.85,-6.1)))
sc_cmfb.add(gdstk.Reference(unit_cap_mim_m3m4, (3.15,-6.1)))
sc_cmfb.add(gdstk.Reference(unit_cap_mim_m3m4, (12.15,-6.1)))
sc_cmfb.add(gdstk.Reference(unit_cap_mim_m3m4, (21.15,-6.1)))
sc_cmfb.add(gdstk.Reference(unit_cap_mim_m3m4, (30.15,-6.1)))
sc_cmfb.add(gdstk.Reference(unit_cap_mim_m3m4, (39.15,-6.1)))
sc_cmfb.add(gdstk.Reference(transmission_gate, (51.265,-8.745), rotation=pi, x_reflection=True))
sc_cmfb.add(gdstk.Reference(transmission_gate, (-13.385,0.255), rotation=pi, x_reflection=True))
sc_cmfb.add(gdstk.Reference(unit_cap_mim_m3m4, (-5.85,2.9)))
sc_cmfb.add(gdstk.Reference(unit_cap_mim_m3m4, (3.15,2.9)))
sc_cmfb.add(gdstk.Reference(unit_cap_mim_m3m4, (12.15,2.9)))
sc_cmfb.add(gdstk.Reference(unit_cap_mim_m3m4, (21.15,2.9)))
sc_cmfb.add(gdstk.Reference(unit_cap_mim_m3m4, (30.15,2.9)))
sc_cmfb.add(gdstk.Reference(unit_cap_mim_m3m4, (39.15,2.9)))
sc_cmfb.add(gdstk.Reference(transmission_gate, (51.265,0.255), rotation=pi, x_reflection=True))
sc_cmfb.add(gdstk.Reference(transmission_gate, (-13.385,9.255), rotation=pi, x_reflection=True))
sc_cmfb.add(gdstk.Reference(unit_cap_mim_m3m4, (-5.85,11.9)))
sc_cmfb.add(gdstk.Reference(unit_cap_mim_m3m4, (3.15,11.9)))
sc_cmfb.add(gdstk.Reference(unit_cap_mim_m3m4, (12.15,11.9)))
sc_cmfb.add(gdstk.Reference(unit_cap_mim_m3m4, (21.15,11.9)))
sc_cmfb.add(gdstk.Reference(unit_cap_mim_m3m4, (30.15,11.9)))
sc_cmfb.add(gdstk.Reference(unit_cap_mim_m3m4, (39.15,11.9)))
sc_cmfb.add(gdstk.Reference(transmission_gate, (51.265,9.255), rotation=pi, x_reflection=True))
sc_cmfb.add(gdstk.Reference(transmission_gate, (-13.385,18.255), rotation=pi, x_reflection=True))
sc_cmfb.add(gdstk.Reference(unit_cap_mim_m3m4, (-5.85,20.9)))
sc_cmfb.add(gdstk.Reference(unit_cap_mim_m3m4, (3.15,20.9)))
sc_cmfb.add(gdstk.Reference(unit_cap_mim_m3m4, (12.15,20.9)))
sc_cmfb.add(gdstk.Reference(unit_cap_mim_m3m4, (21.15,20.9)))
sc_cmfb.add(gdstk.Reference(unit_cap_mim_m3m4, (30.15,20.9)))
sc_cmfb.add(gdstk.Reference(unit_cap_mim_m3m4, (39.15,20.9)))
sc_cmfb.add(gdstk.Reference(transmission_gate, (51.265,18.255), rotation=pi, x_reflection=True))
sc_cmfb.add(gdstk.Reference(transmission_gate, (-13.385,27.255), rotation=pi, x_reflection=True))
sc_cmfb.add(gdstk.Reference(unit_cap_mim_m3m4, (-5.85,29.9)))
sc_cmfb.add(gdstk.Reference(unit_cap_mim_m3m4, (3.15,29.9)))
sc_cmfb.add(gdstk.Reference(unit_cap_mim_m3m4, (12.15,29.9)))
sc_cmfb.add(gdstk.Reference(unit_cap_mim_m3m4, (21.15,29.9)))
sc_cmfb.add(gdstk.Reference(unit_cap_mim_m3m4, (30.15,29.9)))
sc_cmfb.add(gdstk.Reference(unit_cap_mim_m3m4, (39.15,29.9)))
sc_cmfb.add(gdstk.Reference(transmission_gate, (51.265,27.255), rotation=pi, x_reflection=True))
sc_cmfb.add(gdstk.Reference(transmission_gate, (-13.385,36.255), rotation=pi, x_reflection=True))
sc_cmfb.add(gdstk.Reference(unit_cap_mim_m3m4, (-5.85,38.9)))
sc_cmfb.add(gdstk.Reference(unit_cap_mim_m3m4, (3.15,38.9)))
sc_cmfb.add(gdstk.Reference(unit_cap_mim_m3m4, (12.15,38.9)))
sc_cmfb.add(gdstk.Reference(unit_cap_mim_m3m4, (21.15,38.9)))
sc_cmfb.add(gdstk.Reference(unit_cap_mim_m3m4, (30.15,38.9)))
sc_cmfb.add(gdstk.Reference(unit_cap_mim_m3m4, (39.15,38.9)))
sc_cmfb.add(gdstk.Reference(transmission_gate, (51.265,36.255), rotation=pi, x_reflection=True))
sc_cmfb.add(gdstk.Label('on', (-23.46,16.84), layer=68, texttype=16))
sc_cmfb.add(gdstk.Label('cm', (54.5,16.475), layer=68, texttype=16))
sc_cmfb.add(gdstk.Label('bias_a', (57.01,16.49), layer=68, texttype=16))
sc_cmfb.add(gdstk.Label('op', (-26.52,16.845), layer=68, texttype=16))
sc_cmfb.add(gdstk.Label('cmc', (-21.16,16.855), layer=68, texttype=16))
sc_cmfb.add(gdstk.Label('p2_b', (-18.255,49.63), layer=71, texttype=16))
sc_cmfb.add(gdstk.Label('p2', (-18.265,47.65), layer=71, texttype=16))
sc_cmfb.add(gdstk.Label('p1_b', (-18.26,45.615), layer=71, texttype=16))
sc_cmfb.add(gdstk.Label('p1', (-18.265,43.665), layer=71, texttype=16))
sc_cmfb.add(gdstk.Label('VDD', (-9.51,47.115), layer=67, texttype=16))
sc_cmfb.add(gdstk.Label('VSS', (-9.42,42.325), layer=67, texttype=16))

lib.write_gds('sc_cmfb.gds')
